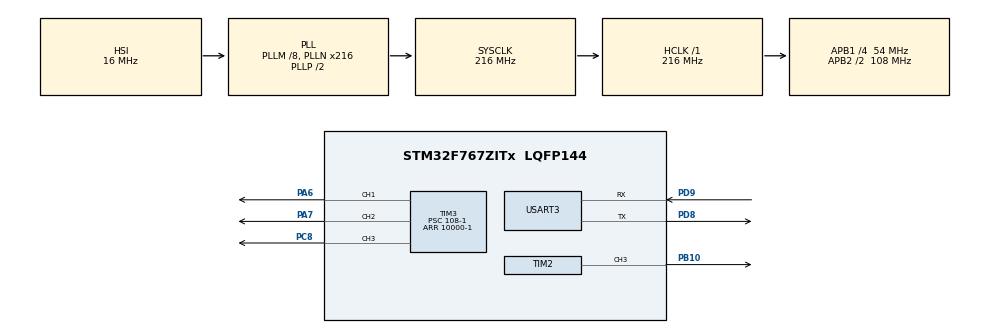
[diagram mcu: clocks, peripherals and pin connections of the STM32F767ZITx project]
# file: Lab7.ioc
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Mcu.Family=STM32F7
Mcu.Name=STM32F767ZITx
Mcu.Package=LQFP144
NVIC.PriorityGroup=NVIC_PRIORITYGROUP_2
NVIC.USART3_IRQn=true\:1\:0\:true\:false\:true\:true\:true\:true
PA6.Signal=S_TIM3_CH1
PA7.Signal=S_TIM3_CH2
PB10.GPIO_Speed=GPIO_SPEED_FREQ_VERY_HIGH
PB10.Signal=S_TIM2_CH3
PC8.Signal=S_TIM3_CH3
PD8.Mode=Asynchronous
PD8.Signal=USART3_TX
PD9.Mode=Asynchronous
PD9.Signal=USART3_RX
ProjectManager.HeapSize=0x200
ProjectManager.StackSize=0x400
ProjectManager.TargetToolchain=STM32CubeIDE
RCC.AHBFreq_Value=216000000
RCC.APB1CLKDivider=RCC_HCLK_DIV4
RCC.APB1Freq_Value=54000000
RCC.APB1TimFreq_Value=108000000
RCC.APB2CLKDivider=RCC_HCLK_DIV2
RCC.APB2Freq_Value=108000000
RCC.APB2TimFreq_Value=216000000
RCC.CortexFreq_Value=216000000
RCC.HCLKFreq_Value=216000000
RCC.HSE_VALUE=25000000
RCC.HSI_VALUE=16000000
RCC.LSE_VALUE=32768
RCC.PLLM=8
RCC.PLLN=216
RCC.SYSCLKFreq_VALUE=216000000
RCC.SYSCLKSource=RCC_SYSCLKSOURCE_PLLCLK
RCC.USBFreq_Value=216000000
RCC.VCOOutputFreq_Value=432000000
SH.S_TIM2_CH3.0=TIM2_CH3,PWM Generation3 CH3
SH.S_TIM3_CH1.0=TIM3_CH1,PWM Generation1 CH1
SH.S_TIM3_CH2.0=TIM3_CH2,PWM Generation2 CH2
SH.S_TIM3_CH3.0=TIM3_CH3,PWM Generation3 CH3
TIM2.Channel-PWM\ Generation3\ CH3=TIM_CHANNEL_3
TIM2.Period=10000-1
TIM2.Prescaler=1080-1
TIM2.Pulse-PWM\ Generation3\ CH3=10000/4-1
TIM3.Channel-PWM\ Generation1\ CH1=TIM_CHANNEL_1
TIM3.Channel-PWM\ Generation2\ CH2=TIM_CHANNEL_2
TIM3.Channel-PWM\ Generation3\ CH3=TIM_CHANNEL_3
TIM3.Period=10000-1
TIM3.Prescaler=108-1
USART3.VirtualMode-Asynchronous=VM_ASYNC
VP_TIM2_VS_ClockSourceINT.Mode=Internal
VP_TIM3_VS_ClockSourceINT.Mode=Internal
board=custom

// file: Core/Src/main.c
/* USER CODE BEGIN Header */
/**
  ******************************************************************************
  * @file           : main.c
  * @brief          : Main program body
  ******************************************************************************
  * @attention
  *
  * Copyright (c) 2023 STMicroelectronics.
  * All rights reserved.
  *
  * This software is licensed under terms that can be found in the LICENSE file
  * in the root directory of this software component.
  * If no LICENSE file comes with this software, it is provided AS-IS.
  *
  ******************************************************************************
  */
/* USER CODE END Header */
#include "main.h"

/* USER CODE BEGIN Includes */
#include "stdio.h"
/* USER CODE END Includes */

TIM_HandleTypeDef htim2;
TIM_HandleTypeDef htim3;

UART_HandleTypeDef huart3;

void SystemClock_Config(void);
static void MX_GPIO_Init(void);
static void MX_TIM2_Init(void);
static void MX_TIM3_Init(void);
static void MX_USART3_UART_Init(void);

/* USER CODE BEGIN 0 */
uint8_t rPWM,gPWM,bPWM;
float rCycle=.0;
float gCycle=.0;
float bCycle=.0;
char ch;
void printValue(char* str){
	while(__HAL_UART_GET_FLAG(&huart3,UART_FLAG_TC)==RESET){}
	HAL_UART_Transmit(&huart3,str,strlen(str),1000);
}
void HAL_UART_RxCpltCallback(UART_HandleTypeDef *huart){
			float *pCycle = NULL;
			uint32_t *ccr = NULL;
			switch(ch){
				case 'r':
					pCycle = &rCycle;
					ccr = &(htim3.Instance->CCR1);
					break;
				case 'g':
					pCycle = &gCycle;
					ccr = &(htim3.Instance->CCR2);
					break;
				case 'b':
					pCycle = &bCycle;
					ccr = &(htim3.Instance->CCR3);
					break;
			}
			char str[20];
			sprintf(str,"%c\r\n",ch);
			printValue(str);
			if(pCycle != NULL){
				  /*HAL_TIM_PWM_Stop(&htim3, TIM_CHANNEL_1);
				  HAL_TIM_PWM_Stop(&htim3, TIM_CHANNEL_2);
				  HAL_TIM_PWM_Stop(&htim3, TIM_CHANNEL_3);*/
				sprintf(str,"%.2f\r\n",*pCycle);
				printValue(str);
				*pCycle = (*pCycle>= 1?0:(*pCycle+.2));
				*ccr = (10000-1)* (*pCycle);
				  /*HAL_TIM_PWM_Start(&htim3, TIM_CHANNEL_1);
				  HAL_TIM_PWM_Start(&htim3, TIM_CHANNEL_2);
				  HAL_TIM_PWM_Start(&htim3, TIM_CHANNEL_3);*/
			}
			HAL_UART_Receive_IT(&huart3,(uint32_t*)&ch,1);
}
/* USER CODE END 0 */

int main(void)
{

  /* MCU Configuration--------------------------------------------------------*/

  /* Reset of all peripherals, Initializes the Flash interface and the Systick. */
  HAL_Init();

  /* Configure the system clock */
  SystemClock_Config();

  /* Initialize all configured peripherals */
  MX_GPIO_Init();
  MX_TIM2_Init();
  MX_TIM3_Init();
  MX_USART3_UART_Init();
  /* USER CODE BEGIN 2 */
  HAL_UART_Receive_IT(&huart3,(uint32_t*)&ch,1);
  HAL_TIM_PWM_Start(&htim3, TIM_CHANNEL_1);
  HAL_TIM_PWM_Start(&htim3, TIM_CHANNEL_2);
  HAL_TIM_PWM_Start(&htim3, TIM_CHANNEL_3);
  htim3.Instance -> CCR1 = (10000-1) * rCycle;
  htim3.Instance -> CCR2 = (10000-1) * gCycle;
  htim3.Instance -> CCR3 = (10000-1) * bCycle;

  /* USER CODE END 2 */

  /* Infinite loop */
  while (1)
  {

    /* USER CODE BEGIN 3 */

	  rPWM = (GPIOA->IDR & GPIO_PIN_6) >>6;
	  gPWM = (GPIOA->IDR & GPIO_PIN_7) >>7;
	  bPWM = (GPIOC->IDR & GPIO_PIN_8) >>8;
  }
  /* USER CODE END 3 */
}

void SystemClock_Config(void)
{
  RCC_OscInitTypeDef RCC_OscInitStruct = {0};
  RCC_ClkInitTypeDef RCC_ClkInitStruct = {0};

  /** Configure the main internal regulator output voltage
  */
  __HAL_RCC_PWR_CLK_ENABLE();
  __HAL_PWR_VOLTAGESCALING_CONFIG(PWR_REGULATOR_VOLTAGE_SCALE1);

  /** Initializes the RCC Oscillators according to the specified parameters
  * in the RCC_OscInitTypeDef structure.
  */
  RCC_OscInitStruct.OscillatorType = RCC_OSCILLATORTYPE_HSI;
  RCC_OscInitStruct.HSIState = RCC_HSI_ON;
  RCC_OscInitStruct.HSICalibrationValue = RCC_HSICALIBRATION_DEFAULT;
  RCC_OscInitStruct.PLL.PLLState = RCC_PLL_ON;
  RCC_OscInitStruct.PLL.PLLSource = RCC_PLLSOURCE_HSI;
  RCC_OscInitStruct.PLL.PLLM = 8;
  RCC_OscInitStruct.PLL.PLLN = 216;
  RCC_OscInitStruct.PLL.PLLP = RCC_PLLP_DIV2;
  RCC_OscInitStruct.PLL.PLLQ = 2;
  RCC_OscInitStruct.PLL.PLLR = 2;
  if (HAL_RCC_OscConfig(&RCC_OscInitStruct) != HAL_OK)
  {
    Error_Handler();
  }

  /** Activate the Over-Drive mode
  */
  if (HAL_PWREx_EnableOverDrive() != HAL_OK)
  {
    Error_Handler();
  }

  /** Initializes the CPU, AHB and APB buses clocks
  */
  RCC_ClkInitStruct.ClockType = RCC_CLOCKTYPE_HCLK|RCC_CLOCKTYPE_SYSCLK
                              |RCC_CLOCKTYPE_PCLK1|RCC_CLOCKTYPE_PCLK2;
  RCC_ClkInitStruct.SYSCLKSource = RCC_SYSCLKSOURCE_PLLCLK;
  RCC_ClkInitStruct.AHBCLKDivider = RCC_SYSCLK_DIV1;
  RCC_ClkInitStruct.APB1CLKDivider = RCC_HCLK_DIV4;
  RCC_ClkInitStruct.APB2CLKDivider = RCC_HCLK_DIV2;

  if (HAL_RCC_ClockConfig(&RCC_ClkInitStruct, FLASH_LATENCY_7) != HAL_OK)
  {
    Error_Handler();
  }
}

static void MX_TIM2_Init(void)
{

  TIM_ClockConfigTypeDef sClockSourceConfig = {0};
  TIM_MasterConfigTypeDef sMasterConfig = {0};
  TIM_OC_InitTypeDef sConfigOC = {0};

  htim2.Instance = TIM2;
  htim2.Init.Prescaler = 1080-1;
  htim2.Init.CounterMode = TIM_COUNTERMODE_UP;
  htim2.Init.Period = 10000-1;
  htim2.Init.ClockDivision = TIM_CLOCKDIVISION_DIV1;
  htim2.Init.AutoReloadPreload = TIM_AUTORELOAD_PRELOAD_DISABLE;
  if (HAL_TIM_Base_Init(&htim2) != HAL_OK)
  {
    Error_Handler();
  }
  sClockSourceConfig.ClockSource = TIM_CLOCKSOURCE_INTERNAL;
  if (HAL_TIM_ConfigClockSource(&htim2, &sClockSourceConfig) != HAL_OK)
  {
    Error_Handler();
  }
  if (HAL_TIM_PWM_Init(&htim2) != HAL_OK)
  {
    Error_Handler();
  }
  sMasterConfig.MasterOutputTrigger = TIM_TRGO_RESET;
  sMasterConfig.MasterSlaveMode = TIM_MASTERSLAVEMODE_DISABLE;
  if (HAL_TIMEx_MasterConfigSynchronization(&htim2, &sMasterConfig) != HAL_OK)
  {
    Error_Handler();
  }
  sConfigOC.OCMode = TIM_OCMODE_PWM1;
  sConfigOC.Pulse = 10000/4-1;
  sConfigOC.OCPolarity = TIM_OCPOLARITY_HIGH;
  sConfigOC.OCFastMode = TIM_OCFAST_DISABLE;
  if (HAL_TIM_PWM_ConfigChannel(&htim2, &sConfigOC, TIM_CHANNEL_3) != HAL_OK)
  {
    Error_Handler();
  }
  HAL_TIM_MspPostInit(&htim2);

}

static void MX_TIM3_Init(void)
{

  TIM_ClockConfigTypeDef sClockSourceConfig = {0};
  TIM_MasterConfigTypeDef sMasterConfig = {0};
  TIM_OC_InitTypeDef sConfigOC = {0};

  htim3.Instance = TIM3;
  htim3.Init.Prescaler = 108-1;
  htim3.Init.CounterMode = TIM_COUNTERMODE_UP;
  htim3.Init.Period = 10000-1;
  htim3.Init.ClockDivision = TIM_CLOCKDIVISION_DIV1;
  htim3.Init.AutoReloadPreload = TIM_AUTORELOAD_PRELOAD_DISABLE;
  if (HAL_TIM_Base_Init(&htim3) != HAL_OK)
  {
    Error_Handler();
  }
  sClockSourceConfig.ClockSource = TIM_CLOCKSOURCE_INTERNAL;
  if (HAL_TIM_ConfigClockSource(&htim3, &sClockSourceConfig) != HAL_OK)
  {
    Error_Handler();
  }
  if (HAL_TIM_PWM_Init(&htim3) != HAL_OK)
  {
    Error_Handler();
  }
  sMasterConfig.MasterOutputTrigger = TIM_TRGO_RESET;
  sMasterConfig.MasterSlaveMode = TIM_MASTERSLAVEMODE_DISABLE;
  if (HAL_TIMEx_MasterConfigSynchronization(&htim3, &sMasterConfig) != HAL_OK)
  {
    Error_Handler();
  }
  sConfigOC.OCMode = TIM_OCMODE_PWM1;
  sConfigOC.Pulse = 0;
  sConfigOC.OCPolarity = TIM_OCPOLARITY_HIGH;
  sConfigOC.OCFastMode = TIM_OCFAST_DISABLE;
  if (HAL_TIM_PWM_ConfigChannel(&htim3, &sConfigOC, TIM_CHANNEL_1) != HAL_OK)
  {
    Error_Handler();
  }
  if (HAL_TIM_PWM_ConfigChannel(&htim3, &sConfigOC, TIM_CHANNEL_2) != HAL_OK)
  {
    Error_Handler();
  }
  if (HAL_TIM_PWM_ConfigChannel(&htim3, &sConfigOC, TIM_CHANNEL_3) != HAL_OK)
  {
    Error_Handler();
  }
  HAL_TIM_MspPostInit(&htim3);

}

static void MX_USART3_UART_Init(void)
{

  huart3.Instance = USART3;
  huart3.Init.BaudRate = 115200;
  huart3.Init.WordLength = UART_WORDLENGTH_8B;
  huart3.Init.StopBits = UART_STOPBITS_1;
  huart3.Init.Parity = UART_PARITY_NONE;
  huart3.Init.Mode = UART_MODE_TX_RX;
  huart3.Init.HwFlowCtl = UART_HWCONTROL_NONE;
  huart3.Init.OverSampling = UART_OVERSAMPLING_16;
  huart3.Init.OneBitSampling = UART_ONE_BIT_SAMPLE_DISABLE;
  huart3.AdvancedInit.AdvFeatureInit = UART_ADVFEATURE_NO_INIT;
  if (HAL_UART_Init(&huart3) != HAL_OK)
  {
    Error_Handler();
  }

}

static void MX_GPIO_Init(void)
{

  /* GPIO Ports Clock Enable */
  __HAL_RCC_GPIOA_CLK_ENABLE();
  __HAL_RCC_GPIOB_CLK_ENABLE();
  __HAL_RCC_GPIOD_CLK_ENABLE();
  __HAL_RCC_GPIOC_CLK_ENABLE();

}

void Error_Handler(void)
{
  __disable_irq();
  while (1)
  {
  }
}
